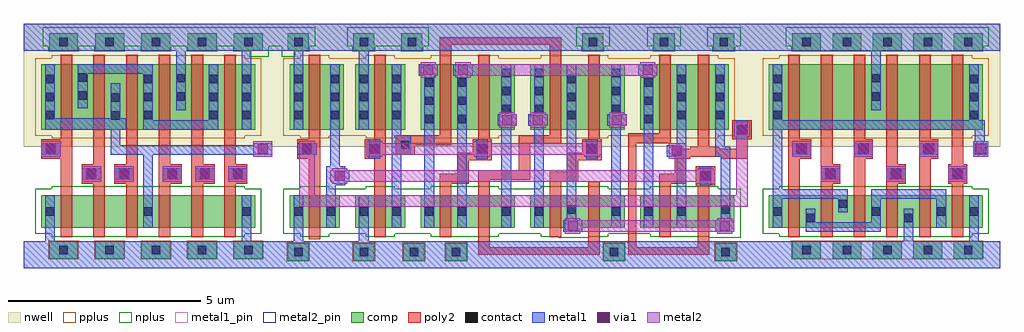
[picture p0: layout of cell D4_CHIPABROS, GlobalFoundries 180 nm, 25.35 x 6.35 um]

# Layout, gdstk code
import gdstk
lib = gdstk.Library(unit=1e-6, precision=1e-09)
def R(c, l, rs):  # rectangles x0, y0, x1, y1
    for r in rs: c.add(gdstk.rectangle(r[:2], r[2:], *l))
def A(c, l, x, y, w, h, nx, ny, dx, dy):  # array of equal rectangles
    R(c, l, [(x+i*dx, y+j*dy, x+i*dx+w, y+j*dy+h) for i in range(nx) for j in range(ny)])
nwell = (21, 0)
comp = (22, 0)
poly2 = (30, 0)
pplus = (31, 0)
nplus = (32, 0)
contact = (33, 0)
metal1 = (34, 0)
metal1_pin = (34, 10)
via1 = (35, 0)
metal2 = (36, 0)
metal2_pin = (36, 10)

gf180mcu_osu_sc_gp9t3v3_ = lib.new_cell('gf180mcu_osu_sc_gp9t3v3__oai33_1')
R(gf180mcu_osu_sc_gp9t3v3_, nwell, [(-3.1,3,3.35,6.2)])
A(gf180mcu_osu_sc_gp9t3v3_, comp, -2.05, 0.1, 0.75, 0.45, 5, 2, 1.05, 5.4)
R(gf180mcu_osu_sc_gp9t3v3_, comp, [(-2.65,0.9,2.9,1.75), (-2.65,3.45,2.9,5.15)])
A(gf180mcu_osu_sc_gp9t3v3_, poly2, -2.15, 0.65, 0.3, 2.05, 3, 1, 1.7, 0)
A(gf180mcu_osu_sc_gp9t3v3_, poly2, -1.3, 0.65, 0.3, 1.4, 3, 1, 1.7, 0)
A(gf180mcu_osu_sc_gp9t3v3_, poly2, -1.3, 2.55, 0.3, 2.85, 3, 1, 1.7, 0)
A(gf180mcu_osu_sc_gp9t3v3_, poly2, -2.15, 3.2, 0.3, 2.2, 3, 1, 1.7, 0)
R(gf180mcu_osu_sc_gp9t3v3_, poly2, [(-1.3,2.05,-0.8,2.55), (0.4,2.05,0.9,2.55), (2,2.05,2.5,2.55), (-2.15,2.7,-1.55,3.2), (-0.45,2.7,0.05,3.2), (1.25,2.7,1.75,3.2)])
R(gf180mcu_osu_sc_gp9t3v3_, pplus, [(-2.07,0.08,2.92,0.57), (-2.38,3.22,2.63,3.29), (-2.81,3.29,3.06,5.31), (-2.38,5.31,2.63,5.38)])
R(gf180mcu_osu_sc_gp9t3v3_, nplus, [(-2.38,0.67,2.63,0.74), (-2.81,0.74,3.06,1.91), (-2.38,1.91,2.63,1.98), (-2.07,5.48,2.92,5.61), (-2.21,5.61,3.06,6.11)])
A(gf180mcu_osu_sc_gp9t3v3_, contact, -1.785, 0.215, 0.22, 0.22, 5, 2, 1.05, 5.4)
A(gf180mcu_osu_sc_gp9t3v3_, contact, -2.535, 3.72, 0.22, 0.22, 1, 3, 0, 0.47)
A(gf180mcu_osu_sc_gp9t3v3_, contact, 2.565, 3.72, 0.22, 0.22, 1, 3, 0, 0.47)
R(gf180mcu_osu_sc_gp9t3v3_, contact, [(-1.685,1.04,-1.465,1.26), (0.865,1.04,1.085,1.26), (-2.535,1.215,-2.315,1.435), (0.015,1.215,0.235,1.435), (1.715,1.215,1.935,1.435), (2.565,1.215,2.785,1.435), (-0.835,1.415,-0.615,1.635), (-1.16,2.19,-0.94,2.41), (0.54,2.19,0.76,2.41), (2.14,2.19,2.36,2.41), (-1.91,2.84,-1.69,3.06), (-0.31,2.84,-0.09,3.06), (1.39,2.84,1.61,3.06), (0.015,4.205,0.235,4.425), (0.015,4.675,0.235,4.895)])
R(gf180mcu_osu_sc_gp9t3v3_, metal1, [(-3.1,-0.15,3.35,0.55), (0.85,0.55,1.1,1.4), (2.55,0.55,2.8,1.75), (-1.7,0.8,0.25,1.05), (-2.55,0.9,-2.3,1.65), (1.7,0.9,1.95,1.65), (-1.7,1.05,-1.45,1.4), (0,1.05,0.25,1.65), (-0.85,1.3,-0.6,1.65), (-2.55,1.65,-0.6,1.9), (0,1.65,1.95,1.9), (-2.55,1.9,-2.3,3.45), (-1.3,2.15,-0.8,2.45), (0.4,2.15,0.9,2.45), (2,2.15,2.5,2.45), (2.65,2.75,3.05,3.15), (-2.05,2.8,-1.55,3.1), (-0.45,2.8,0.05,3.1), (1.25,2.8,1.75,3.1), (2.7,3.15,2.95,3.45), (-2.55,3.45,2.95,3.7), (-2.55,3.7,-2.3,5.15), (2.55,3.7,2.8,5.15), (0,3.95,0.25,5.5), (-3.1,5.5,3.35,6.2)])
R(gf180mcu_osu_sc_gp9t3v3_, metal1_pin, [(-1.8,0.2,-1.55,0.45), (-1.8,5.6,-1.55,5.85)])
R(gf180mcu_osu_sc_gp9t3v3_, via1, [(-1.18,2.17,-0.92,2.43), (0.52,2.17,0.78,2.43), (2.12,2.17,2.38,2.43), (-1.93,2.82,-1.67,3.08), (-0.33,2.82,-0.07,3.08), (1.37,2.82,1.63,3.08), (2.72,2.82,2.98,3.08)])
R(gf180mcu_osu_sc_gp9t3v3_, metal2, [(-1.3,2.1,-0.8,2.5), (0.4,2.1,0.9,2.5), (2,2.1,2.5,2.5), (-2.05,2.75,-1.55,3.15), (-0.45,2.75,0.05,3.15), (1.25,2.75,1.75,3.15), (2.65,2.75,3.05,3.15)])
R(gf180mcu_osu_sc_gp9t3v3_, metal2_pin, [(-1.2,2.15,-0.9,2.45), (0.5,2.15,0.8,2.45), (2.1,2.15,2.4,2.45), (-1.95,2.8,-1.65,3.1), (-0.35,2.8,-0.05,3.1), (1.35,2.8,1.65,3.1), (2.7,2.8,3,3.1)])
gf180mcu_osu_sc_gp9t3v3_.add(gdstk.Label('A', (-0.2,2.95), layer=36, texttype=10))
gf180mcu_osu_sc_gp9t3v3_.add(gdstk.Label('B', (-1.05,2.3), layer=36, texttype=10))
gf180mcu_osu_sc_gp9t3v3_.add(gdstk.Label('C', (-1.8,2.95), layer=36, texttype=10))
gf180mcu_osu_sc_gp9t3v3_.add(gdstk.Label('D', (0.65,2.3), layer=36, texttype=10))
gf180mcu_osu_sc_gp9t3v3_.add(gdstk.Label('E', (1.5,2.95), layer=36, texttype=10))
gf180mcu_osu_sc_gp9t3v3_.add(gdstk.Label('F', (2.25,2.3), layer=36, texttype=10))
gf180mcu_osu_sc_gp9t3v3_.add(gdstk.Label('OUT', (2.85,2.95), layer=36, texttype=10))
gf180mcu_osu_sc_gp9t3v3_.add(gdstk.Label('VDD', (-1.675,5.725), layer=34, texttype=10))
gf180mcu_osu_sc_gp9t3v3_.add(gdstk.Label('VSS', (-1.675,0.325), layer=34, texttype=10))

c_gf180mcu_osu_sc_gp9t3v3_ = lib.new_cell('gf180mcu_osu_sc_gp9t3v3__mux4_1')
R(c_gf180mcu_osu_sc_gp9t3v3_, nwell, [(-1.7,3.15,10.75,6.35)])
A(c_gf180mcu_osu_sc_gp9t3v3_, comp, 2.15, 1.05, 2.45, 0.85, 3, 1, 2.85, 0)
R(c_gf180mcu_osu_sc_gp9t3v3_, comp, [(-1.3,0.2,-0.75,0.65), (0.4,0.2,0.95,0.65), (1.7,0.2,2.25,0.65), (2.8,0.2,3.35,0.65), (6.9,0.2,7.45,0.65), (9.8,0.2,10.35,0.65), (5.9,0.95,6.35,1.05), (9.8,0.95,10.3,1.05), (-1.25,1.05,0.05,1.9), (0.45,1.05,1.75,1.9), (-1.25,3.6,0.15,5.3), (0.45,3.6,1.75,5.3), (2.15,3.6,4.6,3.7), (5,3.6,7.45,3.7), (7.85,3.6,10.15,5), (2.15,3.7,4.65,4), (4.95,3.7,7.5,4), (2.15,4,4.6,5), (5,4,7.45,5.3), (2.1,5,4.6,5.3), (7.8,5,10.15,5.3), (-1.3,5.65,-0.75,6.1), (0.4,5.65,0.95,6.1), (1.65,5.65,2.2,6.1), (6.35,5.65,6.9,6.1), (8.2,5.65,8.75,6.1), (9.75,5.65,10.3,6.1)])
R(c_gf180mcu_osu_sc_gp9t3v3_, poly2, [(3.65,0.35,6.8,0.55), (7.55,0.35,9.65,0.55), (3.65,0.55,3.95,2.3), (6.5,0.55,6.8,2.25), (7.55,0.55,7.75,3.25), (9.35,0.55,9.65,2.15), (-0.75,0.75,-0.45,2.85), (0.95,0.8,1.25,2.85), (2.65,0.8,2.95,2.2), (5.5,0.8,5.8,2.25), (8.35,0.8,8.65,2.2), (9.3,2.15,9.8,2.65), (2.65,2.2,3.4,2.45), (8.35,2.2,9.05,2.45), (5.5,2.25,6.25,2.5), (3.65,2.3,5,2.55), (3.1,2.45,3.4,2.8), (8.75,2.45,9.05,2.85), (5.95,2.5,6.25,2.8), (4.7,2.55,5,3.25), (3.1,2.8,4,3), (5.95,2.8,6.85,3), (-1.05,2.85,-0.45,3.35), (0.7,2.85,1.25,3.35), (8.75,2.85,9.15,2.9), (9.95,2.85,10.65,2.9), (8.75,2.9,10.65,3), (1.5,2.95,2,3.2), (3.5,3,4,3.35), (6.35,3,6.85,3.35), (8.8,3,10.65,3.05), (8.9,3.05,10.65,3.1), (9.15,3.1,9.9,3.15), (10.35,3.1,10.65,3.35), (9.35,3.15,9.65,5.55), (1.5,3.2,2.95,3.45), (4.7,3.25,5.8,3.45), (7.55,3.25,8.65,3.5), (-0.75,3.35,-0.45,5.55), (0.95,3.35,1.25,5.55), (3.65,3.35,3.95,5.55), (6.5,3.35,6.8,5.55), (10.25,3.35,10.75,3.85), (2.65,3.45,2.95,5.8), (5.5,3.45,5.8,5.8), (8.35,3.5,8.65,5.55), (2.65,5.8,5.8,6)])
A(c_gf180mcu_osu_sc_gp9t3v3_, pplus, 2.42, 3.37, 1.76, 0.07, 3, 2, 2.85, 2.09)
R(c_gf180mcu_osu_sc_gp9t3v3_, pplus, [(-1.32,0.18,-0.73,0.67), (0.38,0.18,0.97,0.67), (1.68,0.18,2.27,0.67), (2.78,0.18,3.37,0.67), (6.88,0.18,7.47,0.67), (9.78,0.18,10.37,0.67), (-0.98,3.37,-0.22,3.44), (0.72,3.37,1.48,3.44), (-1.41,3.44,10.31,5.46), (-0.98,5.46,-0.22,5.53), (0.72,5.46,1.48,5.53)])
A(c_gf180mcu_osu_sc_gp9t3v3_, nplus, 2.42, 2.06, 1.76, 0.07, 3, 1, 2.85, 0)
R(c_gf180mcu_osu_sc_gp9t3v3_, nplus, [(5.74,0.79,6.51,0.82), (9.64,0.79,10.46,0.82), (-0.98,0.82,-0.22,0.89), (0.72,0.82,1.48,0.89), (2.42,0.82,4.18,0.89), (5.27,0.82,7.03,0.89), (8.12,0.82,10.46,0.89), (-1.41,0.89,10.46,2.06), (-0.98,2.06,-0.22,2.13), (0.72,2.06,1.48,2.13), (-1.46,5.49,-1.11,5.63), (-1.46,5.63,-0.73,5.76), (0.38,5.63,0.97,5.76), (1.63,5.63,2.22,5.76), (6.33,5.63,6.92,5.76), (8.18,5.63,8.77,5.76), (9.73,5.63,10.32,5.76), (-1.46,5.76,-0.59,6.26), (0.24,5.76,2.36,6.26), (6.19,5.76,7.06,6.26), (8.04,5.76,8.91,6.26), (9.59,5.76,10.46,6.26)])
A(c_gf180mcu_osu_sc_gp9t3v3_, contact, -1.135, 1.365, 0.22, 0.22, 6, 1, 0.85, 0)
A(c_gf180mcu_osu_sc_gp9t3v3_, contact, 7.115, 1.365, 0.22, 0.22, 3, 1, 0.85, 0)
A(c_gf180mcu_osu_sc_gp9t3v3_, contact, 2.265, 3.77, 0.22, 0.22, 1, 3, 0, 0.47)
A(c_gf180mcu_osu_sc_gp9t3v3_, contact, 3.115, 3.77, 0.22, 0.22, 1, 3, 0, 0.47)
A(c_gf180mcu_osu_sc_gp9t3v3_, contact, 7.965, 3.77, 0.22, 0.22, 1, 3, 0, 0.47)
A(c_gf180mcu_osu_sc_gp9t3v3_, contact, -1.135, 3.87, 0.22, 0.22, 1, 3, 0, 0.47)
A(c_gf180mcu_osu_sc_gp9t3v3_, contact, -0.185, 3.87, 0.22, 0.22, 1, 3, 0, 0.47)
A(c_gf180mcu_osu_sc_gp9t3v3_, contact, 0.565, 3.87, 0.22, 0.22, 1, 3, 0, 0.47)
A(c_gf180mcu_osu_sc_gp9t3v3_, contact, 1.415, 3.87, 0.22, 0.22, 1, 3, 0, 0.47)
A(c_gf180mcu_osu_sc_gp9t3v3_, contact, 5.965, 3.87, 0.22, 0.22, 1, 3, 0, 0.47)
A(c_gf180mcu_osu_sc_gp9t3v3_, contact, 8.815, 3.87, 0.22, 0.22, 1, 3, 0, 0.47)
A(c_gf180mcu_osu_sc_gp9t3v3_, contact, 9.815, 3.87, 0.22, 0.22, 1, 3, 0, 0.47)
A(c_gf180mcu_osu_sc_gp9t3v3_, contact, 4.265, 4.02, 0.22, 0.22, 1, 3, 0, 0.47)
A(c_gf180mcu_osu_sc_gp9t3v3_, contact, 5.115, 4.02, 0.22, 0.22, 1, 3, 0, 0.47)
A(c_gf180mcu_osu_sc_gp9t3v3_, contact, 7.115, 4.02, 0.22, 0.22, 1, 3, 0, 0.47)
R(c_gf180mcu_osu_sc_gp9t3v3_, contact, [(-1.135,0.315,-0.915,0.535), (0.565,0.315,0.785,0.535), (1.865,0.315,2.085,0.535), (2.965,0.315,3.185,0.535), (7.065,0.315,7.285,0.535), (9.965,0.315,10.185,0.535), (4.265,1.365,4.485,1.585), (5.115,1.365,5.335,1.585), (5.965,1.415,6.185,1.635), (9.965,1.415,10.185,1.635), (9.44,2.29,9.66,2.51), (-0.91,2.99,-0.69,3.21), (0.84,2.99,1.06,3.21), (3.64,2.99,3.86,3.21), (6.49,2.99,6.71,3.21), (1.64,3.09,1.86,3.31), (10.39,3.49,10.61,3.71), (-1.135,5.765,-0.915,5.985), (0.565,5.765,0.785,5.985), (1.815,5.765,2.035,5.985), (6.515,5.765,6.735,5.985), (8.365,5.765,8.585,5.985), (9.915,5.765,10.135,5.985)])
R(c_gf180mcu_osu_sc_gp9t3v3_, metal1, [(-1.7,0,10.75,0.7), (-1.15,0.7,-0.9,1.9), (0.55,0.7,0.8,1.9), (5.85,0.95,6.35,1.25), (9.8,0.95,10.3,1.25), (-0.3,1.05,-0.05,2.15), (1.4,1.05,1.65,2.95), (2.25,1.05,2.5,5), (3.1,1.05,3.35,5), (4.25,1.05,4.5,3.7), (5.1,1.05,5.35,3.7), (7.1,1.05,7.35,3.7), (7.95,1.05,8.2,5), (8.8,1.05,9.05,2.9), (5.95,1.25,6.2,5.3), (9.95,1.25,10.2,2.9), (-0.3,2.15,0.2,2.25), (9.4,2.15,9.7,2.65), (-0.3,2.25,0.3,2.55), (-0.3,2.55,0.2,2.65), (-0.2,2.65,0.05,5.3), (0.8,2.85,1.1,3.35), (3.6,2.85,3.9,3.35), (6.45,2.85,6.75,3.35), (8.55,2.9,9.05,3.2), (9.8,2.9,10.2,3.15), (-1.05,2.95,-0.55,3.25), (1.4,2.95,1.9,3.45), (9.8,3.15,10.05,5.3), (8.8,3.2,9.05,5.3), (10.35,3.35,10.65,3.85), (1.4,3.45,1.65,5.3), (-1.15,3.6,-0.9,5.65), (0.55,3.6,0.8,5.65), (4.15,3.7,4.65,4), (4.95,3.7,5.45,4), (7,3.7,7.5,4), (4.25,4,4.5,5.3), (5.1,4,5.35,5.3), (7.1,4,7.35,5.3), (2.1,5,2.6,5.3), (3,5,3.5,5.3), (7.8,5,8.3,5.3), (-1.7,5.65,10.75,6.35)])
R(c_gf180mcu_osu_sc_gp9t3v3_, via1, [(5.97,0.97,6.23,1.23), (9.92,0.97,10.18,1.23), (-0.08,2.27,0.18,2.53), (9.42,2.27,9.68,2.53), (8.67,2.92,8.93,3.18), (-0.93,2.97,-0.67,3.23), (0.82,2.97,1.08,3.23), (3.62,2.97,3.88,3.23), (6.47,2.97,6.73,3.23), (10.37,3.47,10.63,3.73), (4.27,3.72,4.53,3.98), (5.07,3.72,5.33,3.98), (7.12,3.72,7.38,3.98), (2.22,5.02,2.48,5.28), (3.12,5.02,3.38,5.28), (7.92,5.02,8.18,5.28)])
R(c_gf180mcu_osu_sc_gp9t3v3_, metal2, [(5.9,0.9,6.3,0.95), (9.85,0.9,10.25,0.95), (5.9,0.95,10.3,1.25), (5.9,1.25,6.3,1.3), (9.85,1.25,10.25,1.3), (-1,1.6,10.65,1.9), (-1,1.9,-0.6,2.95), (10.35,1.9,10.65,3.4), (-0.15,2.2,0.25,2.25), (9.3,2.2,9.8,2.25), (-0.2,2.25,9.8,2.55), (-0.15,2.55,0.25,2.6), (9.35,2.55,9.75,2.6), (8.6,2.85,9.05,3.25), (0.75,2.9,1.15,2.95), (3.55,2.9,3.95,2.95), (6.4,2.9,6.8,2.95), (-1,2.95,-0.55,3.25), (0.75,2.95,6.85,3.25), (-1,3.25,-0.6,3.3), (0.75,3.25,1.15,3.3), (3.5,3.25,4,3.3), (6.35,3.25,6.85,3.3), (10.3,3.4,10.7,3.8), (4.2,3.65,4.6,3.7), (5,3.65,5.4,3.7), (7.05,3.65,7.45,3.7), (4.2,3.7,4.65,4), (5,3.7,5.45,4), (7.05,3.7,7.5,4), (4.2,4,4.6,4.05), (5,4,5.4,4.05), (7.05,4,7.45,4.05), (2.15,4.95,2.55,5), (3.05,4.95,3.45,5), (7.85,4.95,8.25,5), (2.15,5,2.6,5.3), (3.05,5,8.3,5.3), (2.15,5.3,2.55,5.35), (3.05,5.3,3.45,5.35), (7.85,5.3,8.25,5.35)])
c_gf180mcu_osu_sc_gp9t3v3_.add(gdstk.Label('C1', (-0.8,3.1), layer=36, texttype=0))
c_gf180mcu_osu_sc_gp9t3v3_.add(gdstk.Label('C0', (0.95,3.1), layer=36, texttype=0))
c_gf180mcu_osu_sc_gp9t3v3_.add(gdstk.Label('X2', (4.4,3.85), layer=36, texttype=0))
c_gf180mcu_osu_sc_gp9t3v3_.add(gdstk.Label('X1', (5.2,3.85), layer=36, texttype=0))
c_gf180mcu_osu_sc_gp9t3v3_.add(gdstk.Label('X3', (2.35,5.15), layer=36, texttype=0))
c_gf180mcu_osu_sc_gp9t3v3_.add(gdstk.Label('X0', (7.25,3.85), layer=36, texttype=0))
c_gf180mcu_osu_sc_gp9t3v3_.add(gdstk.Label('OUT', (8.8,3.05), layer=36, texttype=0))
c_gf180mcu_osu_sc_gp9t3v3_.add(gdstk.Label('VSS', (-0.075,0.35), layer=34, texttype=0))
c_gf180mcu_osu_sc_gp9t3v3_.add(gdstk.Label('VDD', (-0.025,6), layer=34, texttype=0))

c_gf180mcu_osu_sc_gp9t3v3__ = lib.new_cell('gf180mcu_osu_sc_gp9t3v3__aoi33_1')
R(c_gf180mcu_osu_sc_gp9t3v3__, nwell, [(5.3,3.15,11.75,6.35)])
A(c_gf180mcu_osu_sc_gp9t3v3__, comp, 5.95, 0.25, 0.75, 0.45, 5, 2, 1.2, 5.4)
R(c_gf180mcu_osu_sc_gp9t3v3__, comp, [(5.75,1.05,11.3,1.9), (5.75,3.6,11.3,5.3)])
A(c_gf180mcu_osu_sc_gp9t3v3__, poly2, 7.1, 0.8, 0.3, 1.4, 5, 1, 0.85, 0)
A(c_gf180mcu_osu_sc_gp9t3v3__, poly2, 8.8, 2.2, 0.6, 0.5, 3, 1, 0.85, 0)
A(c_gf180mcu_osu_sc_gp9t3v3__, poly2, 7.1, 2.7, 0.3, 2.85, 5, 1, 0.85, 0)
R(c_gf180mcu_osu_sc_gp9t3v3__, poly2, [(6.25,0.8,6.55,2.85), (6.8,2.2,7.4,2.7), (7.65,2.2,8.25,2.7), (5.75,2.85,6.55,3.35), (6.25,3.35,6.55,5.55)])
A(c_gf180mcu_osu_sc_gp9t3v3__, pplus, 5.93, 0.23, 0.79, 0.49, 5, 1, 1.2, 0)
R(c_gf180mcu_osu_sc_gp9t3v3__, pplus, [(6.02,3.37,11.03,3.44), (5.59,3.44,11.46,5.46), (6.02,5.46,11.03,5.53)])
A(c_gf180mcu_osu_sc_gp9t3v3__, nplus, 5.93, 5.63, 0.79, 0.13, 4, 1, 1.2, 0)
R(c_gf180mcu_osu_sc_gp9t3v3__, nplus, [(6.02,0.82,11.03,0.89), (5.59,0.89,11.46,2.06), (6.02,2.06,11.03,2.13), (11.16,5.49,11.66,5.63), (10.73,5.63,11.66,5.76), (5.79,5.76,11.66,6.26)])
A(c_gf180mcu_osu_sc_gp9t3v3__, contact, 6.215, 0.365, 0.22, 0.22, 5, 2, 1.2, 5.4)
A(c_gf180mcu_osu_sc_gp9t3v3__, contact, 5.865, 1.365, 0.22, 0.22, 3, 1, 2.55, 0)
A(c_gf180mcu_osu_sc_gp9t3v3__, contact, 9.04, 2.34, 0.22, 0.22, 3, 1, 0.85, 0)
A(c_gf180mcu_osu_sc_gp9t3v3__, contact, 5.865, 3.87, 0.22, 0.22, 1, 3, 0, 0.47)
A(c_gf180mcu_osu_sc_gp9t3v3__, contact, 8.415, 3.87, 0.22, 0.22, 1, 3, 0, 0.47)
A(c_gf180mcu_osu_sc_gp9t3v3__, contact, 10.115, 3.87, 0.22, 0.22, 1, 3, 0, 0.47)
A(c_gf180mcu_osu_sc_gp9t3v3__, contact, 10.965, 3.87, 0.22, 0.22, 1, 3, 0, 0.47)
R(c_gf180mcu_osu_sc_gp9t3v3__, contact, [(6.94,2.34,7.16,2.56), (7.79,2.34,8.01,2.56), (5.89,2.99,6.11,3.21), (7.565,3.855,7.785,4.075), (7.565,4.325,7.785,4.545), (9.265,4.355,9.485,4.575), (6.715,4.38,6.935,4.6), (9.265,4.825,9.485,5.045), (6.715,4.85,6.935,5.07)])
A(c_gf180mcu_osu_sc_gp9t3v3__, metal1, 8.9, 2.3, 0.5, 0.3, 3, 1, 0.85, 0)
R(c_gf180mcu_osu_sc_gp9t3v3__, metal1, [(5.3,0,11.75,0.7), (5.85,0.7,6.1,1.9), (10.95,0.7,11.2,1.9), (8.4,1.05,8.65,2.95), (6.8,2.3,7.3,2.6), (7.65,2.3,8.15,2.6), (5.75,2.95,6.25,3.25), (7.55,2.95,11.75,3.2), (7.55,3.2,7.8,3.6), (11.25,3.2,11.75,3.25), (5.85,3.6,7.95,3.9), (8.4,3.6,10.35,3.85), (10.95,3.6,11.2,5.65), (8.4,3.85,8.65,5.05), (10.1,3.85,10.35,5.3), (5.85,3.9,6.1,5.3), (7.55,3.9,7.8,4.8), (9.25,4.1,9.5,5.65), (6.7,4.15,6.95,5.05), (6.7,5.05,8.65,5.3), (5.3,5.65,11.75,6.35)])
A(c_gf180mcu_osu_sc_gp9t3v3__, via1, 9.02, 2.32, 0.26, 0.26, 3, 1, 0.85, 0)
R(c_gf180mcu_osu_sc_gp9t3v3__, via1, [(6.92,2.32,7.18,2.58), (7.77,2.32,8.03,2.58), (5.87,2.97,6.13,3.23), (11.37,2.97,11.63,3.23)])
A(c_gf180mcu_osu_sc_gp9t3v3__, metal2, 8.9, 2.25, 0.5, 0.4, 3, 1, 0.85, 0)
R(c_gf180mcu_osu_sc_gp9t3v3__, metal2, [(6.8,2.25,7.3,2.65), (7.65,2.25,8.15,2.65), (5.75,2.9,6.25,3.3), (11.25,2.9,11.75,3.3)])

d4_chipabros = lib.new_cell('D4_CHIPABROS')
R(d4_chipabros, nplus, [(7.21,3.26,7.54,3.76)])
d4_chipabros.add(gdstk.Reference(gf180mcu_osu_sc_gp9t3v3_, (22.85,-2.35)))
d4_chipabros.add(gdstk.Reference(c_gf180mcu_osu_sc_gp9t3v3_, (9,-2.5)))
d4_chipabros.add(gdstk.Reference(c_gf180mcu_osu_sc_gp9t3v3__, (-4.45,-2.5)))

lib.write_gds('D4_CHIPABROS.gds')
